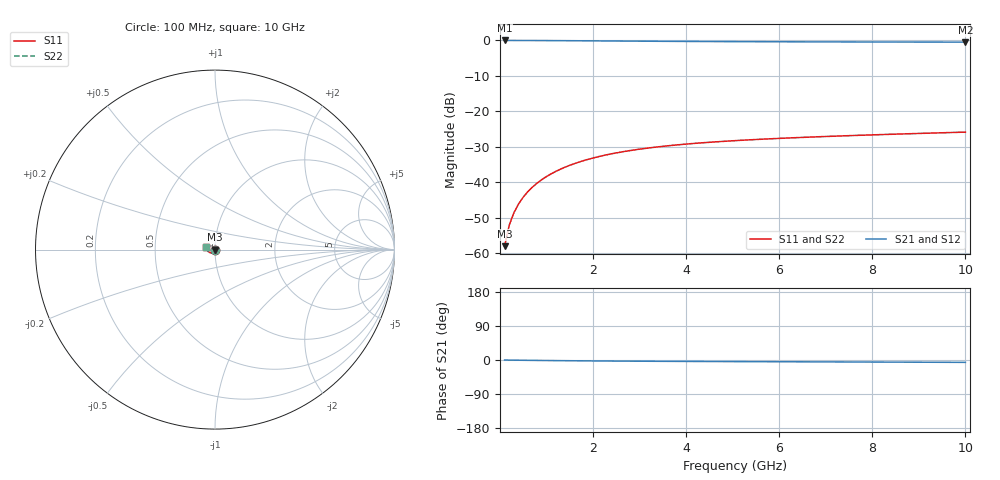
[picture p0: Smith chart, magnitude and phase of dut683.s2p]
! Touchstone file exported from HFSS 2024.1.0
!  File:  C:/UserFiles/LocalFiles/RDL_TSV_Batchsim/temp_TSV1_683_1779795429.aedt
!  Generated:  07:42:04 PM May 26, 2026
!  Design:  TSV1
!  Project:  temp_TSV1_683_1779795429
!  Setup:  Setup1
!  Solution:  Sweep
! Variables:
!  dtsv = 8.87um
!  hbump = 3um
!  htsv = 97.48um
!  lrdl = 252.1521522um
!  p = 40
!  p1 = 53.88um
!  t = 500um
!  trdl = 3um
!  wrdl = 24.89489489um
# GHz S MA R 50.000000
! Terminal data exported
! Port[1] = TSV22_T1
! Port[2] = TSV22_T2
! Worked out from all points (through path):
!   100 points, 100 MHz to 10 GHz, reference 50 ohm
!   highest |S21| = 0.00 dB at 100 MHz (marker M1); lowest = -0.5 dB at 10 GHz (marker M2)
!   lowest |S11| = -58.1 dB at 100 MHz (marker M3), VSWR 1.00, Z = 50 - j0.124 ohm
!   |S11| at or under -10 dB: start of sweep to end of sweep
!   |S22| runs from -58.1 to -25.9 dB; largest |S21 - S12| = 9e-15
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0.1  0.001249 -82.4  0.9997 -0.1  0.9997 -0.1  0.001249 -82.4
! Gamma 0 0 0 0
! Port Impedance 50 0 50 0
0.2  0.002474 -88.9  0.9996 -0.3  0.9996 -0.3  0.002474 -88.9
0.3  0.003704 -92.5  0.9994 -0.4  0.9994 -0.4  0.003704 -92.5
0.4  0.00493 -95.2  0.9991 -0.6  0.9991 -0.6  0.00493 -95.2
0.5  0.006147 -97.7  0.9987 -0.7  0.9987 -0.7  0.006147 -97.7
0.6  0.007352 -99.9  0.9982 -0.8  0.9982 -0.8  0.007352 -99.9
0.7  0.008542 -102.1  0.9977 -1.0  0.9977 -1.0  0.008542 -102.1
0.8  0.009714 -104.2  0.9971 -1.1  0.9971 -1.1  0.009714 -104.2
0.9  0.01087 -106.2  0.9964 -1.2  0.9964 -1.2  0.01087 -106.2
1.1  0.01311 -110.2  0.9949 -1.5  0.9949 -1.5  0.01311 -110.2
1.4  0.01628 -115.8  0.9924 -1.8  0.9924 -1.8  0.01628 -115.8
1.6  0.01827 -119.4  0.9905 -2.0  0.9905 -2.0  0.01827 -119.4
1.8  0.02015 -122.8  0.9886 -2.2  0.9886 -2.2  0.02015 -122.8
2.1  0.02276 -127.7  0.9856 -2.5  0.9856 -2.5  0.02276 -127.7
2.5  0.02586 -133.8  0.9816 -2.8  0.9816 -2.8  0.02586 -133.8
2.9  0.02858 -139.4  0.9778 -3.1  0.9778 -3.1  0.02858 -139.4
3.4  0.03151 -145.8  0.9734 -3.4  0.9734 -3.4  0.03151 -145.8
4.2  0.03532 -154.8  0.9674 -3.8  0.9674 -3.8  0.03532 -154.8
5.1  0.0387 -163.5  0.9619 -4.2  0.9619 -4.2  0.0387 -163.5
6.7  0.04335 -176.2  0.9551 -4.9  0.9551 -4.9  0.04335 -176.2
8.4  0.04737 173.0  0.9503 -5.6  0.9503 -5.6  0.04737 173.0
10  0.05083 164.5  0.9472 -6.2  0.9472 -6.2  0.05083 164.5
